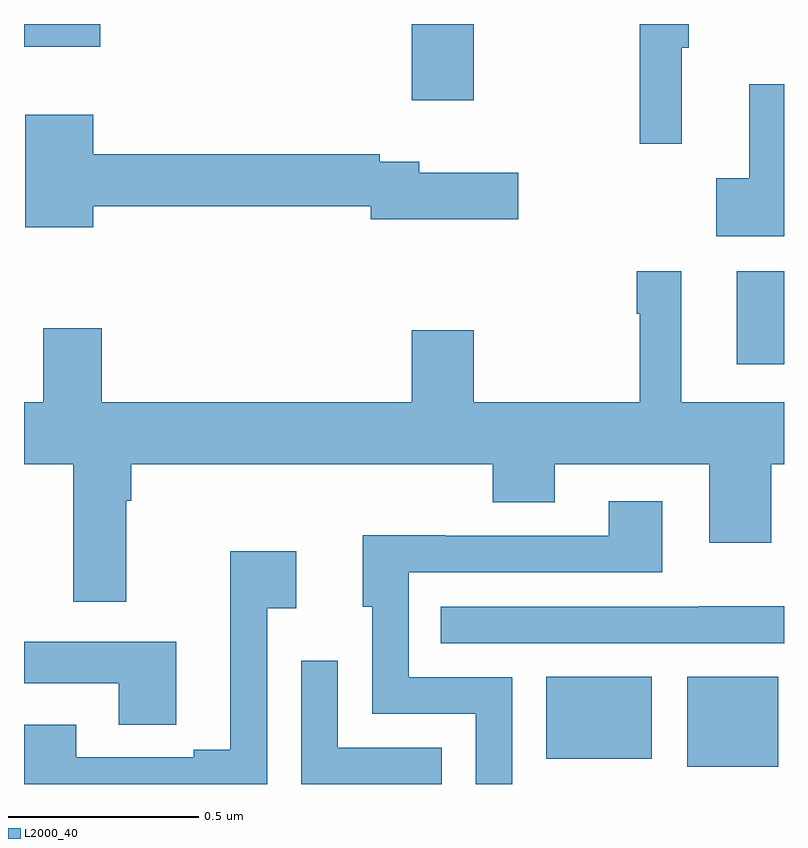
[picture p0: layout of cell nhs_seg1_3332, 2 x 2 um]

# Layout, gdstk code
import gdstk
lib = gdstk.Library(unit=1e-6, precision=1e-09)
def R(c, l, rs):  # rectangles x0, y0, x1, y1
    for r in rs: c.add(gdstk.rectangle(r[:2], r[2:], *l))
def P(c, l, *ps):  # polygons
    for p in ps: c.add(gdstk.Polygon(p, *l))
L2000_40 = (2000, 40)

nhs_seg1_3332 = lib.new_cell('nhs_seg1_3332')
R(nhs_seg1_3332, L2000_40, [(153.746,576.245,153.985,576.481), (153.374,576.266,153.652,576.481), (153.875,577.304,154,577.549), (153.02,577.998,153.184,578.199), (152,578.139,152.2,578.199)])
P(nhs_seg1_3332, L2000_40, [(153.731,578.136),(153.749,578.136),(153.749,578.199),(153.621,578.199),(153.621,577.884),(153.731,577.884)],
  [(154,578.041),(153.908,578.041),(153.908,577.793),(153.822,577.793),(153.822,577.64),(154,577.64)],
  [(152.182,577.72),(152.912,577.72),(152.912,577.685),(153.301,577.685),(153.301,577.807),(153.04,577.807),(153.04,577.836),(152.936,577.836),(152.936,577.856),(152.182,577.856),(152.182,577.96),(152.003,577.96),(152.003,577.664),(152.182,577.664)],
  [(152.269,576.944),(152.282,576.944),(152.282,577.04),(153.233,577.04),(153.233,576.941),(153.397,576.941),(153.397,577.04),(153.803,577.04),(153.803,576.834),(153.967,576.834),(153.967,577.04),(154,577.04),(154,577.204),(153.73,577.204),(153.73,577.549),(153.613,577.549),(153.613,577.436),(153.621,577.436),(153.621,577.204),(153.184,577.204),(153.184,577.393),(153.02,577.393),(153.02,577.204),(152.204,577.204),(152.204,577.399),(152.051,577.399),(152.051,577.204),(152,577.204),(152,577.04),(152.129,577.04),(152.129,576.678),(152.269,576.678)],
  [(153.285,576.48),(153.012,576.48),(153.012,576.756),(153.679,576.756),(153.679,576.943),(153.539,576.943),(153.539,576.852),(153.109,576.852),(153.109,576.854),(152.891,576.854),(152.891,576.666),(152.916,576.666),(152.916,576.384),(153.189,576.384),(153.189,576.199),(153.285,576.199)],
  [(152.64,576.662),(152.716,576.662),(152.716,576.811),(152.543,576.811),(152.543,576.289),(152.447,576.289),(152.447,576.27),(152.137,576.27),(152.137,576.355),(152,576.355),(152,576.199),(152.64,576.199)],
  [(154,576.667),(153.775,576.667),(153.775,576.666),(153.097,576.666),(153.097,576.57),(154,576.57)],
  [(152.401,576.574),(152,576.574),(152,576.464),(152.249,576.464),(152.249,576.355),(152.401,576.355)],
  [(153.099,576.294),(152.826,576.294),(152.826,576.523),(152.73,576.523),(152.73,576.199),(153.099,576.199)])

lib.write_gds('nhs_seg1_3332.gds')
